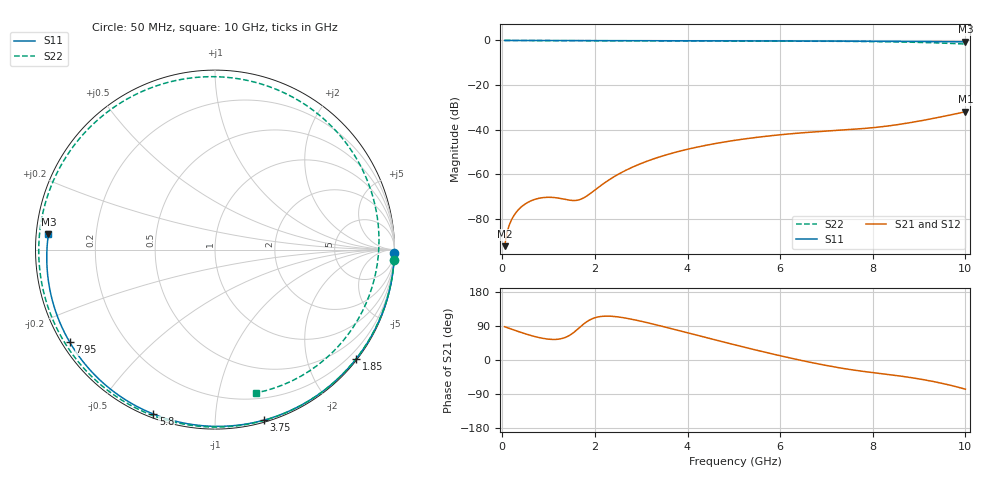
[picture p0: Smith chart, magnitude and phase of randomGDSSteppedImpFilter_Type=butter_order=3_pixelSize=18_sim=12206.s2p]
! freq	dB(S11)	phase(S11)	dB(S12)	phase(S12)
!  dB(S21)	phase(S21)	dB(S22)	phase(S22)
!S-par simulation data
#  GHz  S  DB  R 50
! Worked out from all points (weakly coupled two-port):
!   200 points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, 50 MHz to 10 GHz, reference 50 ohm
!   highest |S21| = -32.02 dB at 10 GHz (marker M1); lowest = -92.4 dB at 50 MHz (marker M2)
!   lowest |S11| = -0.6 dB at 10 GHz (marker M3), VSWR 28.49, Z = 1.76 + j2.31 ohm
!   |S11| at or under -10 dB: nowhere
!   |S22| runs from -1.6 to 0.0 dB; largest |S21 - S12| = 0
!   S11 on the Smith chart (normalised r, x): 50 MHz: open; 1.85 GHz: 0.03, -2.93; 3.75 GHz: 0.02, -1.33; 5.8 GHz: 0.02, -0.69; 7.95 GHz: 0.02, -0.29; 10 GHz: 0.04, +0.05
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0.05  -0.00 -1.0  -92.41 87.8  -92.41 87.8  -0.00 -3.4
0.2  -0.01 -4.2  -80.52 81.3  -80.52 81.3  -0.02 -13.6
0.45  -0.01 -9.3  -74.10 70.9  -74.10 70.9  -0.04 -30.3
0.9  -0.02 -18.5  -70.55 56.6  -70.55 56.6  -0.07 -58.6
1.3  -0.03 -26.6  -71.14 57.1  -71.14 57.1  -0.09 -81.2
1.55  -0.04 -31.7  -71.90 73.4  -71.90 73.4  -0.10 -94.1
1.75  -0.05 -35.7  -70.80 94.2  -70.80 94.2  -0.11 -103.7
1.85  -0.05 -37.6  -69.51 103.0  -69.51 103.0  -0.11 -108.3
2.6  -0.07 -52.3  -59.04 111.9  -59.04 111.9  -0.13 -139.0
3.4  -0.09 -67.6  -52.28 90.5  -52.28 90.5  -0.14 -166.5
3.75  -0.10 -74.1  -50.17 79.7  -50.17 79.7  -0.15 -177.5
4.4  -0.12 -85.9  -47.08 59.3  -47.08 59.3  -0.18 163.0
5.05  -0.15 -97.5  -44.77 39.1  -44.77 39.1  -0.21 143.9
5.8  -0.19 -110.5  -42.80 16.9  -42.80 16.9  -0.25 121.3
6.7  -0.25 -126.0  -41.13 -7.3  -41.13 -7.3  -0.32 92.2
7.35  -0.30 -137.1  -40.23 -22.0  -40.23 -22.0  -0.39 68.6
7.95  -0.36 -147.5  -39.29 -32.5  -39.29 -32.5  -0.50 44.1
8.35  -0.40 -154.5  -38.36 -38.5  -38.36 -38.5  -0.60 25.9
8.8  -0.45 -162.6  -36.95 -46.0  -36.95 -46.0  -0.77 3.1
9.2  -0.50 -169.9  -35.45 -54.3  -35.45 -54.3  -0.98 -19.6
9.6  -0.55 -177.5  -33.80 -64.5  -33.80 -64.5  -1.26 -45.1
10  -0.61 174.7  -32.02 -77.1  -32.02 -77.1  -1.61 -74.0
